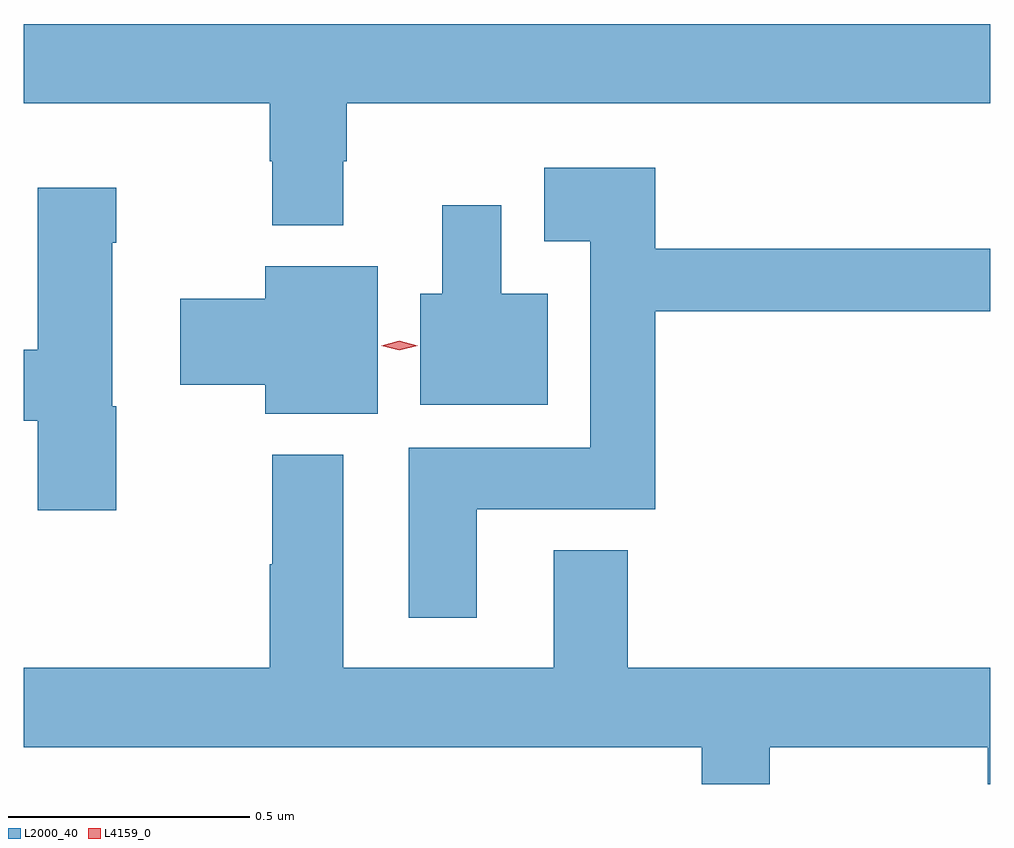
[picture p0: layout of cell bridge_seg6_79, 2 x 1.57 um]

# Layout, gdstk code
import gdstk
lib = gdstk.Library(unit=1e-6, precision=1e-09)
def P(c, l, *ps):  # polygons
    for p in ps: c.add(gdstk.Polygon(p, *l))
L2000_40 = (2000, 40)
L4159_0 = (4159, 0)

bridge_seg6_79 = lib.new_cell('bridge_seg6_79')
P(bridge_seg6_79, L2000_40, [(760.033,989.84),(760.041,989.84),(760.041,989.96),(761.372,989.96),(761.372,990.124),(759.372,990.124),(759.372,989.96),(759.881,989.96),(759.881,989.84),(759.886,989.84),(759.886,989.708),(760.033,989.708)],
  [(760.309,989.12),(760.679,989.12),(760.679,989.53),(761.372,989.53),(761.372,989.659),(760.679,989.659),(760.679,989.827),(760.449,989.827),(760.449,989.675),(760.544,989.675),(760.544,989.248),(760.169,989.248),(760.169,988.896),(760.309,988.896)],
  [(759.564,989.333),(759.556,989.333),(759.556,989.672),(759.564,989.672),(759.564,989.785),(759.401,989.785),(759.401,989.45),(759.372,989.45),(759.372,989.303),(759.401,989.303),(759.401,989.118),(759.564,989.118)],
  [(760.456,989.566),(760.36,989.566),(760.36,989.749),(760.238,989.749),(760.238,989.566),(760.193,989.566),(760.193,989.336),(760.456,989.336)],
  [(760.105,989.623),(759.872,989.623),(759.872,989.556),(759.696,989.556),(759.696,989.378),(759.872,989.378),(759.872,989.318),(760.105,989.318)],
  [(760.775,988.552),(760.915,988.552),(760.915,988.628),(761.366,988.628),(761.366,988.552),(761.372,988.552),(761.372,988.792),(760.622,988.792),(760.622,989.035),(760.469,989.035),(760.469,988.792),(760.033,988.792),(760.033,989.233),(759.886,989.233),(759.886,989.007),(759.881,989.007),(759.881,988.792),(759.372,988.792),(759.372,988.628),(760.775,988.628)])
P(bridge_seg6_79, L4159_0, [(760.149,989.449),(760.112,989.458),(760.112,989.459),(760.112,989.459),(760.149,989.469),(760.187,989.459),(760.187,989.459),(760.187,989.458)])

lib.write_gds('bridge_seg6_79.gds')
